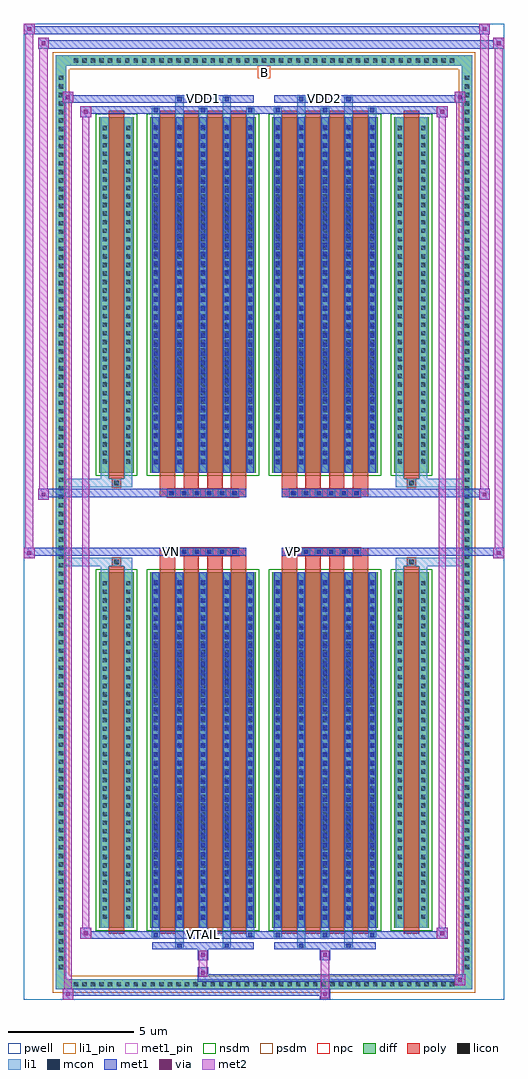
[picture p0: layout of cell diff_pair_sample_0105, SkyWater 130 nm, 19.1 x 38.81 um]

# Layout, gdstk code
import gdstk
lib = gdstk.Library(unit=1e-6, precision=5e-09)
def R(c, l, rs):  # rectangles x0, y0, x1, y1
    for r in rs: c.add(gdstk.rectangle(r[:2], r[2:], *l))
def A(c, l, x, y, w, h, nx, ny, dx, dy):  # array of equal rectangles
    R(c, l, [(x+i*dx, y+j*dy, x+i*dx+w, y+j*dy+h) for i in range(nx) for j in range(ny)])
def P(c, l, *ps):  # polygons
    for p in ps: c.add(gdstk.Polygon(p, *l))
pwell = (64, 44)
diff = (65, 20)
poly = (66, 20)
licon = (66, 44)
li1_pin = (67, 16)
li1 = (67, 20)
mcon = (67, 44)
met1_pin = (68, 16)
met1 = (68, 20)
via = (68, 44)
met2 = (69, 20)
nsdm = (93, 44)
psdm = (94, 20)
npc = (95, 20)

diff_pair_sample_0105 = lib.new_cell('diff_pair_sample_0105')
R(diff_pair_sample_0105, pwell, [(-9.55,-18.97,9.55,19.84), (-6.87,-17.16,-0.01,-0.8), (0.01,-17.16,6.87,-0.8), (-6.87,0.8,-0.01,17.16), (0.01,0.8,6.87,17.16)])
A(diff_pair_sample_0105, diff, -7.685, -18.57, 0.41, 0.41, 45, 2, 0.34, 36.73)
A(diff_pair_sample_0105, diff, -8.28, -17.885, 0.41, 0.41, 1, 105, 0, 0.34)
A(diff_pair_sample_0105, diff, 7.87, -17.885, 0.41, 0.41, 1, 105, 0, 0.34)
R(diff_pair_sample_0105, diff, [(-7.685,-18.57,7.685,-18.16), (-8.28,-17.885,-7.87,17.885), (7.87,-17.885,8.28,17.885), (-6.56,-16.115,-5.17,-1.985), (-4.53,-16.115,-0.32,-1.985), (0.32,-16.115,4.53,-1.985), (5.17,-16.115,6.56,-1.985), (-6.56,1.985,-5.17,16.115), (-4.53,1.985,-0.32,16.115), (0.32,1.985,4.53,16.115), (5.17,1.985,6.56,16.115), (-7.685,18.16,7.685,18.57)])
P(diff_pair_sample_0105, diff, [(8.28,18.57),(-8.28,18.57),(-8.28,-18.16),(-7.87,-18.16),(-7.87,18.16),(7.87,18.16),(7.87,-18.16),(-7.87,-18.16),(-8.28,-18.16),(-8.28,-18.57),(8.28,-18.57)])
A(diff_pair_sample_0105, poly, -4.14, -16.365, 0.61, 14.63, 4, 2, 0.94, 18.1)
A(diff_pair_sample_0105, poly, 0.71, -16.365, 0.61, 14.63, 4, 2, 0.94, 18.1)
A(diff_pair_sample_0105, poly, -4.14, -1.735, 0.61, 0.405, 4, 2, 0.94, 3.065)
A(diff_pair_sample_0105, poly, 0.71, -1.735, 0.61, 0.405, 4, 2, 0.94, 3.065)
A(diff_pair_sample_0105, poly, -3.84, -1.33, 0.33, 0.33, 6, 2, 0.5, 2.33)
A(diff_pair_sample_0105, poly, 1.01, -1.33, 0.33, 0.33, 6, 2, 0.5, 2.33)
R(diff_pair_sample_0105, poly, [(-6.17,-16.365,-5.56,-1.735), (5.56,-16.365,6.17,-1.735), (-6.03,-1.735,-5.7,-1.405), (-6.03,-1.735,-5.7,-1.405), (5.7,-1.735,6.03,-1.405), (5.7,-1.735,6.03,-1.405), (-4.14,-1.33,-0.71,-1), (0.71,-1.33,4.14,-1), (-4.14,1,-0.71,1.33), (0.71,1,4.14,1.33), (-6.03,1.405,-5.7,1.735), (-6.03,1.405,-5.7,1.735), (5.7,1.405,6.03,1.735), (5.7,1.405,6.03,1.735), (-6.17,1.735,-5.56,16.365), (5.56,1.735,6.17,16.365)])
A(diff_pair_sample_0105, licon, -7.565, -18.45, 0.17, 0.17, 45, 2, 0.34, 36.73)
A(diff_pair_sample_0105, licon, -8.16, -17.765, 0.17, 0.17, 1, 105, 0, 0.34)
A(diff_pair_sample_0105, licon, 7.99, -17.765, 0.17, 0.17, 1, 105, 0, 0.34)
A(diff_pair_sample_0105, licon, -6.42, -15.765, 0.17, 0.17, 1, 40, 0, 0.34)
A(diff_pair_sample_0105, licon, -5.48, -15.765, 0.17, 0.17, 1, 40, 0, 0.34)
A(diff_pair_sample_0105, licon, -4.39, -15.765, 0.17, 0.17, 5, 40, 0.94, 0.34)
A(diff_pair_sample_0105, licon, 0.46, -15.765, 0.17, 0.17, 5, 40, 0.94, 0.34)
A(diff_pair_sample_0105, licon, 5.31, -15.765, 0.17, 0.17, 1, 40, 0, 0.34)
A(diff_pair_sample_0105, licon, 6.25, -15.765, 0.17, 0.17, 1, 40, 0, 0.34)
A(diff_pair_sample_0105, licon, -3.76, -1.25, 0.17, 0.17, 6, 2, 0.5, 2.33)
A(diff_pair_sample_0105, licon, 1.09, -1.25, 0.17, 0.17, 6, 2, 0.5, 2.33)
A(diff_pair_sample_0105, licon, -6.42, 2.335, 0.17, 0.17, 1, 40, 0, 0.34)
A(diff_pair_sample_0105, licon, -5.48, 2.335, 0.17, 0.17, 1, 40, 0, 0.34)
A(diff_pair_sample_0105, licon, -4.39, 2.335, 0.17, 0.17, 5, 40, 0.94, 0.34)
A(diff_pair_sample_0105, licon, 0.46, 2.335, 0.17, 0.17, 5, 40, 0.94, 0.34)
A(diff_pair_sample_0105, licon, 5.31, 2.335, 0.17, 0.17, 1, 40, 0, 0.34)
A(diff_pair_sample_0105, licon, 6.25, 2.335, 0.17, 0.17, 1, 40, 0, 0.34)
R(diff_pair_sample_0105, licon, [(-5.95,-1.655,-5.78,-1.485), (5.78,-1.655,5.95,-1.485), (-5.95,1.485,-5.78,1.655), (5.78,1.485,5.95,1.655)])
R(diff_pair_sample_0105, li1_pin, [(-0.25,17.66,0.25,18.16)])
A(diff_pair_sample_0105, li1, -7.645, -18.53, 0.33, 0.33, 45, 2, 0.34, 36.73)
A(diff_pair_sample_0105, li1, -8.24, -17.845, 0.33, 0.33, 1, 105, 0, 0.34)
A(diff_pair_sample_0105, li1, 7.91, -17.845, 0.33, 0.33, 1, 105, 0, 0.34)
A(diff_pair_sample_0105, li1, -4.47, -16.49, 0.33, 0.375, 3, 2, 1.88, 32.605)
A(diff_pair_sample_0105, li1, -4.39, -16.49, 0.17, 0.17, 3, 2, 1.88, 32.81)
A(diff_pair_sample_0105, li1, 0.38, -16.49, 0.33, 0.375, 3, 2, 1.88, 32.605)
A(diff_pair_sample_0105, li1, 0.46, -16.49, 0.17, 0.17, 3, 2, 1.88, 32.81)
A(diff_pair_sample_0105, li1, -4.47, -16.115, 0.33, 14.13, 5, 2, 0.94, 18.1)
A(diff_pair_sample_0105, li1, 0.38, -16.115, 0.33, 14.13, 5, 2, 0.94, 18.1)
A(diff_pair_sample_0105, li1, -6.5, -15.845, 0.33, 0.33, 1, 40, 0, 0.34)
A(diff_pair_sample_0105, li1, -5.56, -15.845, 0.33, 0.33, 1, 40, 0, 0.34)
A(diff_pair_sample_0105, li1, -4.47, -15.845, 0.33, 0.33, 5, 40, 0.94, 0.34)
A(diff_pair_sample_0105, li1, 0.38, -15.845, 0.33, 0.33, 5, 40, 0.94, 0.34)
A(diff_pair_sample_0105, li1, 5.23, -15.845, 0.33, 0.33, 1, 40, 0, 0.34)
A(diff_pair_sample_0105, li1, 6.17, -15.845, 0.33, 0.33, 1, 40, 0, 0.34)
A(diff_pair_sample_0105, li1, -4.39, -15.795, 0.17, 0.17, 5, 38, 0.94, 0.36)
A(diff_pair_sample_0105, li1, -4.39, -15.795, 0.17, 13.49, 5, 2, 0.94, 18.1)
A(diff_pair_sample_0105, li1, 0.46, -15.795, 0.17, 0.17, 5, 38, 0.94, 0.36)
A(diff_pair_sample_0105, li1, 0.46, -15.795, 0.17, 13.49, 5, 2, 0.94, 18.1)
A(diff_pair_sample_0105, li1, -3.84, -1.33, 0.33, 0.33, 6, 2, 0.5, 2.33)
A(diff_pair_sample_0105, li1, 1.01, -1.33, 0.33, 0.33, 6, 2, 0.5, 2.33)
A(diff_pair_sample_0105, li1, -6.5, 2.255, 0.33, 0.33, 1, 40, 0, 0.34)
A(diff_pair_sample_0105, li1, -5.56, 2.255, 0.33, 0.33, 1, 40, 0, 0.34)
A(diff_pair_sample_0105, li1, -4.47, 2.255, 0.33, 0.33, 5, 40, 0.94, 0.34)
A(diff_pair_sample_0105, li1, 0.38, 2.255, 0.33, 0.33, 5, 40, 0.94, 0.34)
A(diff_pair_sample_0105, li1, 5.23, 2.255, 0.33, 0.33, 1, 40, 0, 0.34)
A(diff_pair_sample_0105, li1, 6.17, 2.255, 0.33, 0.33, 1, 40, 0, 0.34)
A(diff_pair_sample_0105, li1, -4.39, 2.305, 0.17, 0.17, 5, 38, 0.94, 0.36)
A(diff_pair_sample_0105, li1, 0.46, 2.305, 0.17, 0.17, 5, 38, 0.94, 0.36)
R(diff_pair_sample_0105, li1, [(-8.28,-18.57,-7.87,-18.16), (-8.28,-18.57,-7.87,-18.16), (-7.87,-18.57,7.87,-18.16), (7.87,-18.57,8.28,-18.16), (7.87,-18.57,8.28,-18.16), (-8.28,-18.16,-7.87,18.16), (7.87,-18.16,8.28,18.16), (-3.53,-16.92,-3.2,-16.115), (-3.45,-16.92,-3.28,-16.75), (-1.65,-16.92,-1.32,-16.115), (-1.57,-16.92,-1.4,-16.75), (1.32,-16.92,1.65,-16.115), (1.4,-16.92,1.57,-16.75), (3.2,-16.92,3.53,-16.115), (3.28,-16.92,3.45,-16.75), (-6.5,-16.115,-6.17,-1.985), (-5.56,-16.115,-5.23,-1.985), (5.23,-16.115,5.56,-1.985), (6.17,-16.115,6.5,-1.985), (-6.5,-1.985,-6.17,-1.405), (-5.56,-1.985,-5.23,-1.405), (5.23,-1.985,5.56,-1.405), (6.17,-1.985,6.5,-1.405), (-8.28,-1.735,-6.03,-1.405), (-6.5,-1.735,-6.03,-1.405), (-6.03,-1.735,-5.7,-1.405), (-5.7,-1.735,-5.23,-1.405), (5.23,-1.735,5.7,-1.405), (5.7,-1.735,6.03,-1.405), (5.7,-1.735,8.28,-1.405), (6.03,-1.735,6.5,-1.405), (-8.28,1.405,-6.03,1.735), (-6.5,1.405,-6.03,1.735), (-6.5,1.405,-6.17,1.985), (-6.03,1.405,-5.7,1.735), (-5.7,1.405,-5.23,1.735), (-5.56,1.405,-5.23,1.985), (5.23,1.405,5.7,1.735), (5.23,1.405,5.56,1.985), (5.7,1.405,6.03,1.735), (5.7,1.405,8.28,1.735), (6.03,1.405,6.5,1.735), (6.17,1.405,6.5,1.985), (-6.5,1.985,-6.17,16.115), (-5.56,1.985,-5.23,16.115), (5.23,1.985,5.56,16.115), (6.17,1.985,6.5,16.115), (-3.53,16.115,-3.2,16.92), (-1.65,16.115,-1.32,16.92), (1.32,16.115,1.65,16.92), (3.2,16.115,3.53,16.92), (-3.45,16.75,-3.28,16.92), (-1.57,16.75,-1.4,16.92), (1.4,16.75,1.57,16.92), (3.28,16.75,3.45,16.92), (-8.28,18.16,-7.87,18.57), (-8.28,18.16,-7.87,18.57), (-7.87,18.16,7.87,18.57), (7.87,18.16,8.28,18.57), (7.87,18.16,8.28,18.57)])
A(diff_pair_sample_0105, mcon, -4.39, -16.49, 0.17, 0.17, 3, 2, 1.88, 32.81)
A(diff_pair_sample_0105, mcon, 0.46, -16.49, 0.17, 0.17, 3, 2, 1.88, 32.81)
A(diff_pair_sample_0105, mcon, -4.39, -15.795, 0.17, 0.17, 5, 38, 0.94, 0.36)
A(diff_pair_sample_0105, mcon, 0.46, -15.795, 0.17, 0.17, 5, 38, 0.94, 0.36)
A(diff_pair_sample_0105, mcon, -3.76, -1.25, 0.17, 0.17, 6, 2, 0.5, 2.33)
A(diff_pair_sample_0105, mcon, 1.09, -1.25, 0.17, 0.17, 6, 2, 0.5, 2.33)
A(diff_pair_sample_0105, mcon, -4.39, 2.305, 0.17, 0.17, 5, 38, 0.94, 0.36)
A(diff_pair_sample_0105, mcon, 0.46, 2.305, 0.17, 0.17, 5, 38, 0.94, 0.36)
R(diff_pair_sample_0105, mcon, [(-3.45,-16.92,-3.28,-16.75), (-1.57,-16.92,-1.4,-16.75), (1.4,-16.92,1.57,-16.75), (3.28,-16.92,3.45,-16.75), (-3.45,16.75,-3.28,16.92), (-1.57,16.75,-1.4,16.92), (1.4,16.75,1.57,16.92), (3.28,16.75,3.45,16.92)])
R(diff_pair_sample_0105, met1_pin, [(-2.56,-16.53,-2.29,-16.26), (-3.81,-1.29,-3.54,-1.02), (1.04,-1.29,1.31,-1.02), (-2.56,16.71,-2.29,16.98), (2.29,16.71,2.56,16.98)])
A(diff_pair_sample_0105, met1, -4.45, -16.55, 0.29, 0.29, 3, 2, 1.88, 32.81)
A(diff_pair_sample_0105, met1, 0.4, -16.55, 0.29, 0.29, 3, 2, 1.88, 32.81)
A(diff_pair_sample_0105, met1, -4.45, -16.115, 0.29, 14.13, 5, 2, 0.94, 18.1)
A(diff_pair_sample_0105, met1, 0.4, -16.115, 0.29, 14.13, 5, 2, 0.94, 18.1)
A(diff_pair_sample_0105, met1, -4.45, -15.855, 0.29, 0.29, 5, 38, 0.94, 0.36)
A(diff_pair_sample_0105, met1, 0.4, -15.855, 0.29, 0.29, 5, 38, 0.94, 0.36)
A(diff_pair_sample_0105, met1, -3.82, -1.31, 0.29, 0.29, 6, 2, 0.5, 2.33)
A(diff_pair_sample_0105, met1, 1.03, -1.31, 0.29, 0.29, 6, 2, 0.5, 2.33)
A(diff_pair_sample_0105, met1, -4.45, 2.245, 0.29, 0.29, 5, 38, 0.94, 0.36)
A(diff_pair_sample_0105, met1, 0.4, 2.245, 0.29, 0.29, 5, 38, 0.94, 0.36)
R(diff_pair_sample_0105, met1, [(-8.01,-18.97,-7.58,-18.54), (2.21,-18.97,2.64,-18.54), (-8.01,-18.83,2.64,-18.54), (7.58,-18.4,8.01,-17.97), (-2.64,-18.26,8.01,-17.97), (-2.64,-18.12,-2.21,-17.69), (-2.64,-17.41,-2.21,-16.98), (2.21,-17.41,2.64,-16.98), (-4.45,-16.98,-0.4,-16.69), (-3.51,-16.98,-3.22,-16.69), (-1.63,-16.98,-1.34,-16.69), (0.4,-16.98,4.45,-16.69), (1.34,-16.98,1.63,-16.69), (3.22,-16.98,3.51,-16.69), (-7.3,-16.55,-6.87,-16.12), (-7.3,-16.55,-4.45,-16.26), (-4.45,-16.55,-0.4,-16.26), (-0.4,-16.55,0.4,-16.26), (0.4,-16.55,4.45,-16.26), (4.45,-16.55,7.3,-16.26), (6.87,-16.55,7.3,-16.12), (-9.55,-1.43,-9.12,-1), (9.12,-1.43,9.55,-1), (-9.55,-1.33,-0.71,-1), (-4.14,-1.33,-0.71,-1), (0.71,-1.33,4.14,-1), (0.71,-1.33,9.55,-1), (-8.98,0.9,-8.55,1.33), (8.55,0.9,8.98,1.33), (-8.98,1,-4.14,1.33), (-4.14,1,-0.71,1.33), (0.71,1,4.14,1.33), (4.14,1,8.98,1.33), (-7.3,16.12,-6.87,16.55), (6.87,16.12,7.3,16.55), (-7.3,16.26,-4.45,16.55), (-4.45,16.26,-0.4,16.55), (-0.4,16.26,0.4,16.55), (0.4,16.26,4.45,16.55), (4.45,16.26,7.3,16.55), (-8.01,16.69,-7.58,17.12), (-8.01,16.69,-4.45,16.98), (-4.45,16.69,-0.4,16.98), (-3.51,16.69,-3.22,16.98), (-1.63,16.69,-1.34,16.98), (0.4,16.69,4.45,16.98), (1.34,16.69,1.63,16.98), (3.22,16.69,3.51,16.98), (4.45,16.69,8.01,16.98), (7.58,16.69,8.01,17.12), (-8.98,18.84,-8.55,19.27), (-8.98,18.84,-6.87,19.17), (-6.87,18.84,6.87,19.17), (6.87,18.84,9.55,19.17), (9.12,18.84,9.55,19.27), (-9.55,19.41,-9.12,19.84), (-9.55,19.41,-6.87,19.74), (-6.87,19.41,6.87,19.74), (6.87,19.41,8.98,19.74), (8.55,19.41,8.98,19.84)])
R(diff_pair_sample_0105, via, [(-7.87,-18.83,-7.72,-18.68), (2.35,-18.83,2.5,-18.68), (7.72,-18.26,7.87,-18.11), (-2.5,-17.98,-2.35,-17.83), (-2.5,-17.27,-2.35,-17.12), (2.35,-17.27,2.5,-17.12), (-7.16,-16.41,-7.01,-16.26), (7.01,-16.41,7.16,-16.26), (-9.41,-1.29,-9.26,-1.14), (9.26,-1.29,9.41,-1.14), (-8.84,1.04,-8.69,1.19), (8.69,1.04,8.84,1.19), (-7.16,16.26,-7.01,16.41), (7.01,16.26,7.16,16.41), (-7.87,16.83,-7.72,16.98), (7.72,16.83,7.87,16.98), (-8.84,18.98,-8.69,19.13), (9.26,18.98,9.41,19.13), (-9.41,19.55,-9.26,19.7), (8.69,19.55,8.84,19.7)])
R(diff_pair_sample_0105, met2, [(-8.01,-18.97,-7.58,-18.54), (-7.94,-18.97,-7.65,17.12), (-7.65,-18.97,-7.58,-18.54), (-7.96,-18.92,-7.63,-18.59), (2.26,-18.92,2.59,-18.59), (2.26,-18.59,2.59,-17.36), (7.58,-18.4,8.01,-17.97), (7.65,-18.4,7.94,17.12), (7.94,-18.4,8.01,-17.97), (7.63,-18.35,7.96,-18.02), (-2.59,-18.07,-2.26,-17.74), (-2.59,-17.74,-2.26,-17.36), (-2.59,-17.36,-2.26,-17.03), (2.26,-17.36,2.59,-17.03), (-7.3,-16.55,-6.87,-16.12), (-7.23,-16.55,-6.94,16.55), (-6.94,-16.55,-6.87,-16.12), (6.87,-16.55,7.3,-16.12), (6.94,-16.55,7.23,16.55), (7.23,-16.55,7.3,-16.12), (-7.25,-16.5,-6.92,-16.17), (6.92,-16.5,7.25,-16.17), (-9.55,-1.43,-9.12,-1), (-9.5,-1.43,-9.17,19.84), (-9.17,-1.43,-9.12,-1), (9.12,-1.43,9.55,-1), (9.17,-1.43,9.5,19.27), (9.5,-1.43,9.55,-1), (-9.5,-1.38,-9.17,-1.05), (9.17,-1.38,9.5,-1.05), (-8.98,0.9,-8.55,1.33), (-8.93,0.9,-8.6,19.27), (-8.6,0.9,-8.55,1.33), (8.55,0.9,8.98,1.33), (8.6,0.9,8.93,19.84), (8.93,0.9,8.98,1.33), (-8.93,0.95,-8.6,1.28), (8.6,0.95,8.93,1.28), (-7.3,16.12,-6.87,16.55), (-6.94,16.12,-6.87,16.55), (6.87,16.12,7.3,16.55), (7.23,16.12,7.3,16.55), (-7.25,16.17,-6.92,16.5), (6.92,16.17,7.25,16.5), (-8.01,16.69,-7.58,17.12), (-7.65,16.69,-7.58,17.12), (7.58,16.69,8.01,17.12), (7.94,16.69,8.01,17.12), (-7.96,16.74,-7.63,17.07), (7.63,16.74,7.96,17.07), (-8.98,18.84,-8.55,19.27), (-8.6,18.84,-8.55,19.27), (9.12,18.84,9.55,19.27), (9.5,18.84,9.55,19.27), (-8.93,18.89,-8.6,19.22), (9.17,18.89,9.5,19.22), (-9.55,19.41,-9.12,19.84), (-9.17,19.41,-9.12,19.84), (8.55,19.41,8.98,19.84), (8.93,19.41,8.98,19.84), (-9.5,19.46,-9.17,19.79), (8.6,19.46,8.93,19.79)])
R(diff_pair_sample_0105, nsdm, [(-6.69,-16.245,-5.04,-1.855), (-4.66,-16.245,-0.19,-1.855), (0.19,-16.245,4.66,-1.855), (5.04,-16.245,6.69,-1.855), (-6.69,1.855,-5.04,16.245), (-4.66,1.855,-0.19,16.245), (0.19,1.855,4.66,16.245), (5.04,1.855,6.69,16.245)])
P(diff_pair_sample_0105, psdm, [(8.41,18.7),(-8.41,18.7),(-8.41,-18.03),(-7.74,-18.03),(-7.74,18.03),(7.74,18.03),(7.74,-18.03),(-7.74,-18.03),(-8.41,-18.03),(-8.41,-18.7),(8.41,-18.7)])
A(diff_pair_sample_0105, npc, -3.86, -1.35, 0.37, 0.37, 6, 2, 0.5, 2.33)
A(diff_pair_sample_0105, npc, 0.99, -1.35, 0.37, 0.37, 6, 2, 0.5, 2.33)
R(diff_pair_sample_0105, npc, [(-6.05,-1.755,-5.68,-1.385), (5.68,-1.755,6.05,-1.385), (-3.86,-1.35,-2.99,-0.98), (-3.86,-1.35,-2.99,-0.98), (-3.36,-1.35,-2.49,-0.98), (-3.36,-1.35,-2.49,-0.98), (-2.86,-1.35,-1.99,-0.98), (-2.86,-1.35,-1.99,-0.98), (-2.36,-1.35,-1.49,-0.98), (-2.36,-1.35,-1.49,-0.98), (-1.86,-1.35,-0.99,-0.98), (-1.86,-1.35,-0.99,-0.98), (0.99,-1.35,1.86,-0.98), (0.99,-1.35,1.86,-0.98), (1.49,-1.35,2.36,-0.98), (1.49,-1.35,2.36,-0.98), (1.99,-1.35,2.86,-0.98), (1.99,-1.35,2.86,-0.98), (2.49,-1.35,3.36,-0.98), (2.49,-1.35,3.36,-0.98), (2.99,-1.35,3.86,-0.98), (2.99,-1.35,3.86,-0.98), (-3.86,0.98,-2.99,1.35), (-3.86,0.98,-2.99,1.35), (-3.36,0.98,-2.49,1.35), (-3.36,0.98,-2.49,1.35), (-2.86,0.98,-1.99,1.35), (-2.86,0.98,-1.99,1.35), (-2.36,0.98,-1.49,1.35), (-2.36,0.98,-1.49,1.35), (-1.86,0.98,-0.99,1.35), (-1.86,0.98,-0.99,1.35), (0.99,0.98,1.86,1.35), (0.99,0.98,1.86,1.35), (1.49,0.98,2.36,1.35), (1.49,0.98,2.36,1.35), (1.99,0.98,2.86,1.35), (1.99,0.98,2.86,1.35), (2.49,0.98,3.36,1.35), (2.49,0.98,3.36,1.35), (2.99,0.98,3.86,1.35), (2.99,0.98,3.86,1.35), (-6.05,1.385,-5.68,1.755), (5.68,1.385,6.05,1.755)])
diff_pair_sample_0105.add(gdstk.Label('VTAIL', (-2.425,-16.395), layer=68, texttype=5))
diff_pair_sample_0105.add(gdstk.Label('VN', (-3.675,-1.155), layer=68, texttype=5))
diff_pair_sample_0105.add(gdstk.Label('VP', (1.175,-1.155), layer=68, texttype=5))
diff_pair_sample_0105.add(gdstk.Label('B', (0,17.91), layer=67, texttype=5))
diff_pair_sample_0105.add(gdstk.Label('VDD2', (2.425,16.845), layer=68, texttype=5))
diff_pair_sample_0105.add(gdstk.Label('VDD1', (-2.425,16.845), layer=68, texttype=5))

lib.write_gds('diff_pair_sample_0105.gds')
